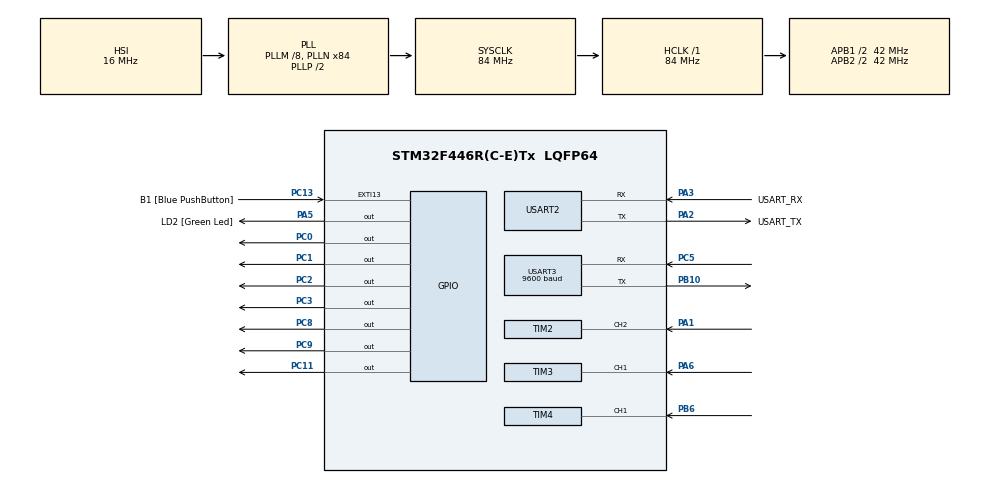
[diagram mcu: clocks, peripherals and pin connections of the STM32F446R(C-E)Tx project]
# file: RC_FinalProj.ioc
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Mcu.Family=STM32F4
Mcu.Name=STM32F446R(C-E)Tx
Mcu.Package=LQFP64
NVIC.PriorityGroup=NVIC_PRIORITYGROUP_4
NVIC.TIM2_IRQn=true\:6\:0\:true\:false\:true\:true\:true\:true
NVIC.TIM3_IRQn=true\:6\:0\:true\:false\:true\:true\:true\:true
NVIC.TIM4_IRQn=true\:6\:0\:true\:false\:true\:true\:true\:true
NVIC.TIM6_DAC_IRQn=true\:15\:0\:false\:false\:true\:false\:true\:true
NVIC.TimeBase=TIM6_DAC_IRQn
NVIC.TimeBaseIP=TIM6
NVIC.USART2_IRQn=true\:6\:0\:true\:false\:true\:true\:true\:true
NVIC.USART3_IRQn=true\:6\:0\:true\:false\:true\:true\:true\:true
PA1.GPIO_ModeDefaultPP=GPIO_MODE_AF_OD
PA1.GPIO_PuPd=GPIO_NOPULL
PA1.GPIO_Speed=GPIO_SPEED_FREQ_VERY_HIGH
PA1.Signal=S_TIM2_CH2
PA13.GPIO_Label=TMS
PA13.Signal=SYS_JTMS-SWDIO
PA14.GPIO_Label=TCK
PA14.Signal=SYS_JTCK-SWCLK
PA2.GPIO_Label=USART_TX
PA2.Mode=Asynchronous
PA2.Signal=USART2_TX
PA3.GPIO_Label=USART_RX
PA3.Mode=Asynchronous
PA3.Signal=USART2_RX
PA5.GPIO_Label=LD2 [Green Led]
PA5.Signal=GPIO_Output
PA6.GPIO_ModeDefaultPP=GPIO_MODE_AF_OD
PA6.GPIO_PuPd=GPIO_NOPULL
PA6.GPIO_Speed=GPIO_SPEED_FREQ_VERY_HIGH
PA6.Signal=S_TIM3_CH1
PB10.Mode=Asynchronous
PB10.Signal=USART3_TX
PB3.GPIO_Label=SWO
PB3.Signal=SYS_JTDO-SWO
PB6.GPIO_ModeDefaultPP=GPIO_MODE_AF_OD
PB6.GPIO_PuPd=GPIO_NOPULL
PB6.GPIO_Speed=GPIO_SPEED_FREQ_VERY_HIGH
PB6.Signal=S_TIM4_CH1
PC0.GPIO_ModeDefaultOutputPP=GPIO_MODE_OUTPUT_PP
PC0.GPIO_Speed=GPIO_SPEED_FREQ_LOW
PC0.Signal=GPIO_Output
PC1.Signal=GPIO_Output
PC11.Signal=GPIO_Output
PC13.GPIO_Label=B1 [Blue PushButton]
PC13.GPIO_ModeDefaultEXTI=GPIO_MODE_IT_FALLING
PC13.Signal=GPXTI13
PC14-OSC32_IN.Signal=RCC_OSC32_IN
PC15-OSC32_OUT.Signal=RCC_OSC32_OUT
PC2.Signal=GPIO_Output
PC3.Signal=GPIO_Output
PC5.Mode=Asynchronous
PC5.Signal=USART3_RX
PC8.Signal=GPIO_Output
PC9.Signal=GPIO_Output
PH0-OSC_IN.Mode=HSE-External-Oscillator
PH0-OSC_IN.Signal=RCC_OSC_IN
PH1-OSC_OUT.Mode=HSE-External-Oscillator
PH1-OSC_OUT.Signal=RCC_OSC_OUT
ProjectManager.HeapSize=0x200
ProjectManager.StackSize=0x400
ProjectManager.TargetToolchain=STM32CubeIDE
RCC.AHBFreq_Value=84000000
RCC.APB1CLKDivider=RCC_HCLK_DIV2
RCC.APB1Freq_Value=42000000
RCC.APB1TimFreq_Value=84000000
RCC.APB2CLKDivider=RCC_HCLK_DIV2
RCC.APB2Freq_Value=42000000
RCC.APB2TimFreq_Value=84000000
RCC.CortexFreq_Value=84000000
RCC.FLatency-AdvancedSettings=FLASH_LATENCY_2
RCC.HCLKFreq_Value=84000000
RCC.HSE_VALUE=8000000
RCC.HSI_VALUE=16000000
RCC.LSE_VALUE=32768
RCC.PLLM=8
RCC.PLLN=84
RCC.SYSCLKFreq_VALUE=84000000
RCC.SYSCLKSource=RCC_SYSCLKSOURCE_PLLCLK
RCC.USBFreq_Value=84000000
RCC.VCOOutputFreq_Value=168000000
SH.S_TIM2_CH2.0=TIM2_CH2,Input_Capture2_from_TI2
SH.S_TIM3_CH1.0=TIM3_CH1,Input_Capture1_from_TI1
SH.S_TIM4_CH1.0=TIM4_CH1,Input_Capture1_from_TI1
TIM1.Period=0xffff
TIM1.Prescaler=83
TIM2.Channel-Input_Capture2_from_TI2=TIM_CHANNEL_2
TIM2.ICPolarity_CH2=TIM_INPUTCHANNELPOLARITY_BOTHEDGE
TIM2.Period=0xffffffff
TIM2.Prescaler=83
TIM3.Channel-Input_Capture1_from_TI1=TIM_CHANNEL_1
TIM3.ClockDivision=TIM_CLOCKDIVISION_DIV1
TIM3.ICPolarity_CH1=TIM_INPUTCHANNELPOLARITY_BOTHEDGE
TIM3.Period=0xffff
TIM3.Prescaler=83
TIM4.Channel-Input_Capture1_from_TI1=TIM_CHANNEL_1
TIM4.ICPolarity_CH1=TIM_INPUTCHANNELPOLARITY_BOTHEDGE
TIM4.Prescaler=83
USART2.VirtualMode=VM_ASYNC
USART3.BaudRate=9600
USART3.VirtualMode=VM_ASYNC
VP_CRC_VS_CRC.Mode=CRC_Activate
VP_SYS_VS_tim6.Mode=TIM6
VP_TIM1_VS_ClockSourceINT.Mode=Internal
board=NUCLEO-F446RE

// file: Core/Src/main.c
/* USER CODE BEGIN Header */
/**
  ******************************************************************************
  * @file           : main.c
  * @brief          : Main program body
  ******************************************************************************
  * @attention
  *
  * Copyright (c) 2023 STMicroelectronics.
  * All rights reserved.
  *
  * This software is licensed under terms that can be found in the LICENSE file
  * in the root directory of this software component.
  * If no LICENSE file comes with this software, it is provided AS-IS.
  *
  ******************************************************************************
  */
/* USER CODE END Header */
#include "main.h"

/* USER CODE BEGIN PTD */
void Trigger_US_left(void *para);
void Trigger_US_right(void *para);
void Trigger_US_middle(void *para);
void Handle_US_Reading(void *para);

void Handle_UART_Reading(void *param);
void SoftwareTimer_Callback(TimerHandle_t xTimer);
/* USER CODE END PTD */

CRC_HandleTypeDef hcrc;

TIM_HandleTypeDef htim1;
TIM_HandleTypeDef htim2;
TIM_HandleTypeDef htim3;
TIM_HandleTypeDef htim4;

UART_HandleTypeDef huart2;
UART_HandleTypeDef huart3;

/* USER CODE BEGIN PV */

#define TRIG_LEFT_PIN 			GPIO_PIN_9

#define TRIG_PORT				GPIOC

state_t current_us;

TaskHandle_t handle_leftUS;
TaskHandle_t handle_rightUS;
TaskHandle_t handle_middleUS;
TaskHandle_t handle_ReadingUS;
TaskHandle_t handle_ReadingUART;
SemaphoreHandle_t US_Sema;

QueueHandle_t Queue_LeftReading;
QueueHandle_t Queue_RightReading;
QueueHandle_t Queue_MiddleReading;
QueueHandle_t Queue_UARTStatus;
TimerHandle_t handle_software_timer;

void SoftwareTimer_Callback(TimerHandle_t xTimer);
/* USER CODE END PV */

void SystemClock_Config(void);
static void MX_GPIO_Init(void);
static void MX_TIM1_Init(void);
static void MX_TIM2_Init(void);
static void MX_TIM3_Init(void);
static void MX_TIM4_Init(void);
static void MX_USART2_UART_Init(void);
static void MX_CRC_Init(void);
static void MX_USART3_UART_Init(void);

/* USER CODE BEGIN 0 */
uint8_t RxBuffer;
/* USER CODE END 0 */

int main(void)
{

  /* MCU Configuration--------------------------------------------------------*/

  /* Reset of all peripherals, Initializes the Flash interface and the Systick. */
  HAL_Init();

  /* Configure the system clock */
  SystemClock_Config();

  /* Initialize all configured peripherals */
  MX_GPIO_Init();
  MX_TIM1_Init();
  MX_TIM2_Init();
  MX_TIM3_Init();
  MX_TIM4_Init();
  MX_USART2_UART_Init();
  MX_CRC_Init();
  MX_USART3_UART_Init();
  /* USER CODE BEGIN 2 */
  HAL_TIM_Base_Start(&htim1);

  HAL_TIM_IC_Start_IT(&htim2, TIM_CHANNEL_2);
  HAL_TIM_IC_Start_IT(&htim3, TIM_CHANNEL_1);
  HAL_TIM_IC_Start_IT(&htim4, TIM_CHANNEL_1);

  /*Start the task creations*/

  current_us=LeftUS;

  HAL_UART_Receive_IT(&huart3, &RxBuffer, 1);
  BaseType_t status;

  status=xTaskCreate(Trigger_US_left, "The left US", 250, NULL, 2, &handle_leftUS);
  configASSERT(status==pdPASS);

  status=xTaskCreate(Trigger_US_right, "The Right US", 250, NULL, 2, &handle_rightUS);
  configASSERT(status==pdPASS);

  status=xTaskCreate(Trigger_US_middle, "The Middle US", 250, NULL, 2, &handle_middleUS);
  configASSERT(status==pdPASS);

   status=xTaskCreate(Handle_US_Reading, "Reading Handle", 200, NULL, 2, &handle_ReadingUS);
   configASSERT(status==pdPASS);

   status=xTaskCreate(Handle_UART_Reading, "UART Handle", 200, NULL, 3, &handle_ReadingUART);
   configASSERT(status==pdPASS);

   Queue_LeftReading=xQueueCreate(1,sizeof(uint64_t));
   configASSERT(Queue_LeftReading!=NULL);

   Queue_RightReading=xQueueCreate(1,sizeof(uint64_t));
   configASSERT(Queue_RightReading!=NULL);

   Queue_MiddleReading=xQueueCreate(1,sizeof(uint64_t));
   configASSERT(Queue_MiddleReading!=NULL);

   Queue_UARTStatus=xQueueCreate(1,sizeof(uint64_t));
   configASSERT(Queue_UARTStatus!=NULL);

   handle_software_timer=xTimerCreate("Motors Timer", pdMS_TO_TICKS(1000), pdFALSE, NULL, &SoftwareTimer_Callback);

   US_Sema=xSemaphoreCreateMutex();

   vTaskStartScheduler();

  /* USER CODE END 2 */

  /* Infinite loop */
  while (1)
  {

  }
}

void SystemClock_Config(void)
{
  RCC_OscInitTypeDef RCC_OscInitStruct = {0};
  RCC_ClkInitTypeDef RCC_ClkInitStruct = {0};

  /** Configure the main internal regulator output voltage
  */
  __HAL_RCC_PWR_CLK_ENABLE();
  __HAL_PWR_VOLTAGESCALING_CONFIG(PWR_REGULATOR_VOLTAGE_SCALE3);

  /** Initializes the RCC Oscillators according to the specified parameters
  * in the RCC_OscInitTypeDef structure.
  */
  RCC_OscInitStruct.OscillatorType = RCC_OSCILLATORTYPE_HSI;
  RCC_OscInitStruct.HSIState = RCC_HSI_ON;
  RCC_OscInitStruct.HSICalibrationValue = RCC_HSICALIBRATION_DEFAULT;
  RCC_OscInitStruct.PLL.PLLState = RCC_PLL_ON;
  RCC_OscInitStruct.PLL.PLLSource = RCC_PLLSOURCE_HSI;
  RCC_OscInitStruct.PLL.PLLM = 8;
  RCC_OscInitStruct.PLL.PLLN = 84;
  RCC_OscInitStruct.PLL.PLLP = RCC_PLLP_DIV2;
  RCC_OscInitStruct.PLL.PLLQ = 2;
  RCC_OscInitStruct.PLL.PLLR = 2;
  if (HAL_RCC_OscConfig(&RCC_OscInitStruct) != HAL_OK)
  {
    Error_Handler();
  }

  /** Initializes the CPU, AHB and APB buses clocks
  */
  RCC_ClkInitStruct.ClockType = RCC_CLOCKTYPE_HCLK|RCC_CLOCKTYPE_SYSCLK
                              |RCC_CLOCKTYPE_PCLK1|RCC_CLOCKTYPE_PCLK2;
  RCC_ClkInitStruct.SYSCLKSource = RCC_SYSCLKSOURCE_PLLCLK;
  RCC_ClkInitStruct.AHBCLKDivider = RCC_SYSCLK_DIV1;
  RCC_ClkInitStruct.APB1CLKDivider = RCC_HCLK_DIV2;
  RCC_ClkInitStruct.APB2CLKDivider = RCC_HCLK_DIV2;

  if (HAL_RCC_ClockConfig(&RCC_ClkInitStruct, FLASH_LATENCY_2) != HAL_OK)
  {
    Error_Handler();
  }
}

static void MX_CRC_Init(void)
{

  hcrc.Instance = CRC;
  if (HAL_CRC_Init(&hcrc) != HAL_OK)
  {
    Error_Handler();
  }

}

static void MX_TIM1_Init(void)
{

  TIM_ClockConfigTypeDef sClockSourceConfig = {0};
  TIM_MasterConfigTypeDef sMasterConfig = {0};

  htim1.Instance = TIM1;
  htim1.Init.Prescaler = 83;
  htim1.Init.CounterMode = TIM_COUNTERMODE_UP;
  htim1.Init.Period = 0xffff;
  htim1.Init.ClockDivision = TIM_CLOCKDIVISION_DIV1;
  htim1.Init.RepetitionCounter = 0;
  htim1.Init.AutoReloadPreload = TIM_AUTORELOAD_PRELOAD_DISABLE;
  if (HAL_TIM_Base_Init(&htim1) != HAL_OK)
  {
    Error_Handler();
  }
  sClockSourceConfig.ClockSource = TIM_CLOCKSOURCE_INTERNAL;
  if (HAL_TIM_ConfigClockSource(&htim1, &sClockSourceConfig) != HAL_OK)
  {
    Error_Handler();
  }
  sMasterConfig.MasterOutputTrigger = TIM_TRGO_RESET;
  sMasterConfig.MasterSlaveMode = TIM_MASTERSLAVEMODE_DISABLE;
  if (HAL_TIMEx_MasterConfigSynchronization(&htim1, &sMasterConfig) != HAL_OK)
  {
    Error_Handler();
  }

}

static void MX_TIM2_Init(void)
{

  TIM_MasterConfigTypeDef sMasterConfig = {0};
  TIM_IC_InitTypeDef sConfigIC = {0};

  htim2.Instance = TIM2;
  htim2.Init.Prescaler = 83;
  htim2.Init.CounterMode = TIM_COUNTERMODE_UP;
  htim2.Init.Period = 0xffffffff;
  htim2.Init.ClockDivision = TIM_CLOCKDIVISION_DIV1;
  htim2.Init.AutoReloadPreload = TIM_AUTORELOAD_PRELOAD_DISABLE;
  if (HAL_TIM_IC_Init(&htim2) != HAL_OK)
  {
    Error_Handler();
  }
  sMasterConfig.MasterOutputTrigger = TIM_TRGO_RESET;
  sMasterConfig.MasterSlaveMode = TIM_MASTERSLAVEMODE_DISABLE;
  if (HAL_TIMEx_MasterConfigSynchronization(&htim2, &sMasterConfig) != HAL_OK)
  {
    Error_Handler();
  }
  sConfigIC.ICPolarity = TIM_INPUTCHANNELPOLARITY_BOTHEDGE;
  sConfigIC.ICSelection = TIM_ICSELECTION_DIRECTTI;
  sConfigIC.ICPrescaler = TIM_ICPSC_DIV1;
  sConfigIC.ICFilter = 0;
  if (HAL_TIM_IC_ConfigChannel(&htim2, &sConfigIC, TIM_CHANNEL_2) != HAL_OK)
  {
    Error_Handler();
  }

}

static void MX_TIM3_Init(void)
{

  TIM_MasterConfigTypeDef sMasterConfig = {0};
  TIM_IC_InitTypeDef sConfigIC = {0};

  htim3.Instance = TIM3;
  htim3.Init.Prescaler = 83;
  htim3.Init.CounterMode = TIM_COUNTERMODE_UP;
  htim3.Init.Period = 0xffff;
  htim3.Init.ClockDivision = TIM_CLOCKDIVISION_DIV1;
  htim3.Init.AutoReloadPreload = TIM_AUTORELOAD_PRELOAD_DISABLE;
  if (HAL_TIM_IC_Init(&htim3) != HAL_OK)
  {
    Error_Handler();
  }
  sMasterConfig.MasterOutputTrigger = TIM_TRGO_RESET;
  sMasterConfig.MasterSlaveMode = TIM_MASTERSLAVEMODE_DISABLE;
  if (HAL_TIMEx_MasterConfigSynchronization(&htim3, &sMasterConfig) != HAL_OK)
  {
    Error_Handler();
  }
  sConfigIC.ICPolarity = TIM_INPUTCHANNELPOLARITY_BOTHEDGE;
  sConfigIC.ICSelection = TIM_ICSELECTION_DIRECTTI;
  sConfigIC.ICPrescaler = TIM_ICPSC_DIV1;
  sConfigIC.ICFilter = 0;
  if (HAL_TIM_IC_ConfigChannel(&htim3, &sConfigIC, TIM_CHANNEL_1) != HAL_OK)
  {
    Error_Handler();
  }

}

static void MX_TIM4_Init(void)
{

  TIM_MasterConfigTypeDef sMasterConfig = {0};
  TIM_IC_InitTypeDef sConfigIC = {0};

  htim4.Instance = TIM4;
  htim4.Init.Prescaler = 83;
  htim4.Init.CounterMode = TIM_COUNTERMODE_UP;
  htim4.Init.Period = 65535;
  htim4.Init.ClockDivision = TIM_CLOCKDIVISION_DIV1;
  htim4.Init.AutoReloadPreload = TIM_AUTORELOAD_PRELOAD_DISABLE;
  if (HAL_TIM_IC_Init(&htim4) != HAL_OK)
  {
    Error_Handler();
  }
  sMasterConfig.MasterOutputTrigger = TIM_TRGO_RESET;
  sMasterConfig.MasterSlaveMode = TIM_MASTERSLAVEMODE_DISABLE;
  if (HAL_TIMEx_MasterConfigSynchronization(&htim4, &sMasterConfig) != HAL_OK)
  {
    Error_Handler();
  }
  sConfigIC.ICPolarity = TIM_INPUTCHANNELPOLARITY_BOTHEDGE;
  sConfigIC.ICSelection = TIM_ICSELECTION_DIRECTTI;
  sConfigIC.ICPrescaler = TIM_ICPSC_DIV1;
  sConfigIC.ICFilter = 0;
  if (HAL_TIM_IC_ConfigChannel(&htim4, &sConfigIC, TIM_CHANNEL_1) != HAL_OK)
  {
    Error_Handler();
  }

}

static void MX_USART2_UART_Init(void)
{

  huart2.Instance = USART2;
  huart2.Init.BaudRate = 115200;
  huart2.Init.WordLength = UART_WORDLENGTH_8B;
  huart2.Init.StopBits = UART_STOPBITS_1;
  huart2.Init.Parity = UART_PARITY_NONE;
  huart2.Init.Mode = UART_MODE_TX_RX;
  huart2.Init.HwFlowCtl = UART_HWCONTROL_NONE;
  huart2.Init.OverSampling = UART_OVERSAMPLING_16;
  if (HAL_UART_Init(&huart2) != HAL_OK)
  {
    Error_Handler();
  }

}

static void MX_USART3_UART_Init(void)
{

  huart3.Instance = USART3;
  huart3.Init.BaudRate = 9600;
  huart3.Init.WordLength = UART_WORDLENGTH_8B;
  huart3.Init.StopBits = UART_STOPBITS_1;
  huart3.Init.Parity = UART_PARITY_NONE;
  huart3.Init.Mode = UART_MODE_TX_RX;
  huart3.Init.HwFlowCtl = UART_HWCONTROL_NONE;
  huart3.Init.OverSampling = UART_OVERSAMPLING_16;
  if (HAL_UART_Init(&huart3) != HAL_OK)
  {
    Error_Handler();
  }

}

static void MX_GPIO_Init(void)
{
  GPIO_InitTypeDef GPIO_InitStruct = {0};

  /* GPIO Ports Clock Enable */
  __HAL_RCC_GPIOC_CLK_ENABLE();
  __HAL_RCC_GPIOH_CLK_ENABLE();
  __HAL_RCC_GPIOA_CLK_ENABLE();
  __HAL_RCC_GPIOB_CLK_ENABLE();

  /*Configure GPIO pin Output Level */
  HAL_GPIO_WritePin(GPIOC, GPIO_PIN_0|GPIO_PIN_1|GPIO_PIN_2|GPIO_PIN_3
                          |GPIO_PIN_8|GPIO_PIN_9|GPIO_PIN_11, GPIO_PIN_RESET);

  /*Configure GPIO pin Output Level */
  HAL_GPIO_WritePin(LD2_GPIO_Port, LD2_Pin, GPIO_PIN_RESET);

  /*Configure GPIO pin : B1_Pin */
  GPIO_InitStruct.Pin = B1_Pin;
  GPIO_InitStruct.Mode = GPIO_MODE_IT_FALLING;
  GPIO_InitStruct.Pull = GPIO_NOPULL;
  HAL_GPIO_Init(B1_GPIO_Port, &GPIO_InitStruct);

  /*Configure GPIO pins : PC0 PC1 PC2 PC3
                           PC8 PC9 PC11 */
  GPIO_InitStruct.Pin = GPIO_PIN_0|GPIO_PIN_1|GPIO_PIN_2|GPIO_PIN_3
                          |GPIO_PIN_8|GPIO_PIN_9|GPIO_PIN_11;
  GPIO_InitStruct.Mode = GPIO_MODE_OUTPUT_PP;
  GPIO_InitStruct.Pull = GPIO_NOPULL;
  GPIO_InitStruct.Speed = GPIO_SPEED_FREQ_LOW;
  HAL_GPIO_Init(GPIOC, &GPIO_InitStruct);

  /*Configure GPIO pin : LD2_Pin */
  GPIO_InitStruct.Pin = LD2_Pin;
  GPIO_InitStruct.Mode = GPIO_MODE_OUTPUT_PP;
  GPIO_InitStruct.Pull = GPIO_NOPULL;
  GPIO_InitStruct.Speed = GPIO_SPEED_FREQ_LOW;
  HAL_GPIO_Init(LD2_GPIO_Port, &GPIO_InitStruct);

}

/* USER CODE BEGIN 4 */
void SoftwareTimer_Callback(TimerHandle_t xTimer){
	Move_Forward();
}
/* USER CODE END 4 */

void HAL_TIM_PeriodElapsedCallback(TIM_HandleTypeDef *htim)
{
  if (htim->Instance == TIM6) {
    HAL_IncTick();
  }
}

void Error_Handler(void)
{
  __disable_irq();
  while (1)
  {
  }
}
